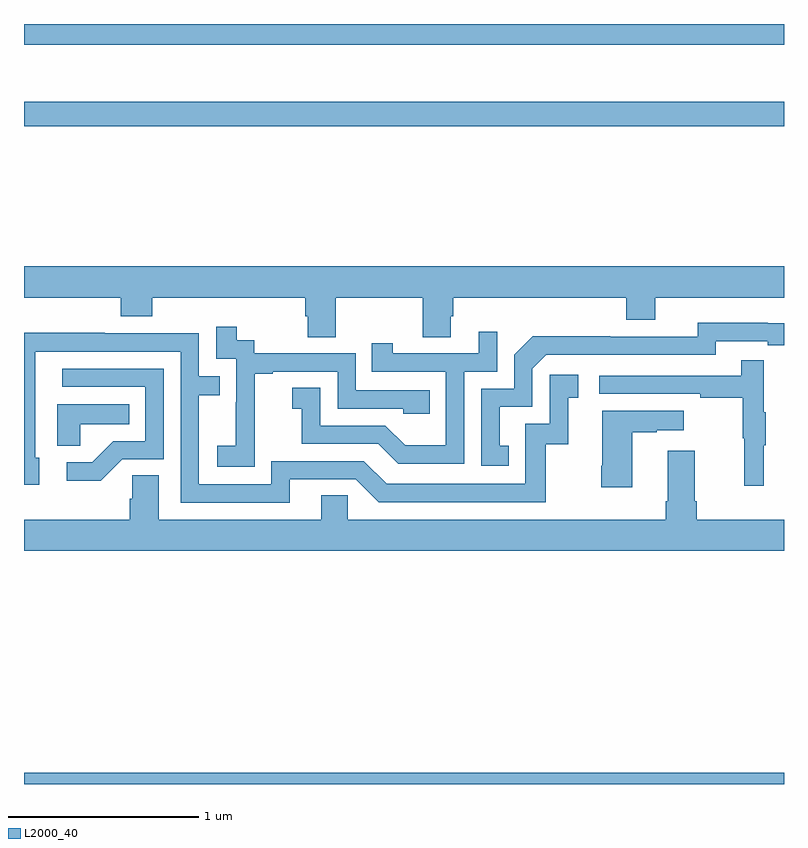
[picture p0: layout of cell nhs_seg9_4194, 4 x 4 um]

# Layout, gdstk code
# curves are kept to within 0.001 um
import gdstk
lib = gdstk.Library(unit=1e-6, precision=1e-09)
def R(c, l, rs):  # rectangles x0, y0, x1, y1
    for r in rs: c.add(gdstk.rectangle(r[:2], r[2:], *l))
def P(c, l, *ps):  # polygons
    for p in ps: c.add(gdstk.Polygon(p, *l))
L2000_40 = (2000, 40)

nhs_seg9_4194 = lib.new_cell('nhs_seg9_4194')
R(nhs_seg9_4194, L2000_40, [(351,1220.5,355,1220.56), (351,1223.962,355,1224.091), (351,1224.392,355,1224.5)])
P(nhs_seg9_4194, L2000_40, [(352.641,1223.06),(353.098,1223.06),(353.098,1222.852),(353.245,1222.852),(353.245,1222.962),(353.258,1222.962),(353.258,1223.06),(354.17,1223.06),(354.17,1222.943),(354.322,1222.943),(354.322,1223.06),(355,1223.06),(355,1223.224),(351,1223.224),(351,1223.06),(351.509,1223.06),(351.509,1222.961),(351.674,1222.961),(351.674,1223.06),(352.481,1223.06),(352.481,1222.962),(352.493,1222.962),(352.493,1222.852),(352.641,1222.852)],
  [(353.552,1222.281),(353.503,1222.281),(353.503,1222.485),(353.676,1222.485),(353.676,1222.686),(353.748,1222.758),(354.642,1222.758),(354.642,1222.83),(354.914,1222.83),(354.914,1222.81),(355,1222.81),(355,1222.926),(354.546,1222.927),(354.546,1222.854),(354.086,1222.854),(354.086,1222.856),(353.678,1222.856),(353.58,1222.758),(353.58,1222.581),(353.406,1222.581),(353.406,1222.176),(353.552,1222.176)],
  [(352.215,1222.375),(352.214,1222.375),(352.214,1222.659),(352.309,1222.659),(352.309,1222.671),(352.65,1222.671),(352.65,1222.476),(352.995,1222.476),(352.995,1222.449),(353.135,1222.449),(353.135,1222.572),(352.746,1222.572),(352.746,1222.767),(352.212,1222.767),(352.212,1222.836),(352.12,1222.836),(352.12,1222.906),(352.011,1222.906),(352.011,1222.737),(352.116,1222.737),(352.116,1222.508),(352.115,1222.508),(352.115,1222.279),(352.017,1222.279),(352.017,1222.169),(352.215,1222.169)],
  [(353.316,1222.671),(353.49,1222.671),(353.49,1222.879),(353.393,1222.879),(353.393,1222.767),(352.942,1222.767),(352.942,1222.819),(352.831,1222.819),(352.831,1222.671),(353.22,1222.671),(353.22,1222.282),(353.006,1222.282),(352.902,1222.386),(352.56,1222.386),(352.56,1222.585),(352.413,1222.585),(352.413,1222.475),(352.462,1222.475),(352.462,1222.29),(352.865,1222.29),(352.97,1222.185),(353.316,1222.185)],
  [(352.399,1222.104),(352.746,1222.104),(352.866,1221.984),(353.746,1221.984),(353.746,1222.287),(353.864,1222.287),(353.864,1222.533),(353.917,1222.533),(353.917,1222.654),(353.766,1222.654),(353.766,1222.395),(353.637,1222.395),(353.637,1222.08),(352.908,1222.08),(352.788,1222.2),(352.302,1222.2),(352.302,1222.077),(351.921,1222.077),(351.921,1222.546),(352.031,1222.546),(352.031,1222.647),(351.921,1222.647),(351.921,1222.872),(351.425,1222.872),(351.425,1222.874),(351,1222.874),(351,1222.074),(351.079,1222.074),(351.079,1222.218),(351.06,1222.218),(351.06,1222.776),(351.825,1222.776),(351.825,1221.981),(352.399,1221.981)],
  [(354.893,1222.283),(354.904,1222.283),(354.904,1222.457),(354.893,1222.457),(354.893,1222.729),(354.775,1222.729),(354.775,1222.65),(354.027,1222.65),(354.027,1222.554),(354.559,1222.554),(354.559,1222.534),(354.783,1222.534),(354.783,1222.32),(354.79,1222.32),(354.79,1222.071),(354.893,1222.071)],
  [(351.516,1222.209),(351.735,1222.209),(351.735,1222.686),(351.201,1222.686),(351.201,1222.59),(351.639,1222.59),(351.639,1222.305),(351.47,1222.305),(351.359,1222.194),(351.225,1222.194),(351.225,1222.097),(351.403,1222.097)],
  [(351.297,1222.394),(351.554,1222.394),(351.554,1222.498),(351.176,1222.498),(351.176,1222.279),(351.297,1222.279)],
  [(354.202,1222.351),(354.329,1222.351),(354.329,1222.361),(354.472,1222.361),(354.472,1222.465),(354.044,1222.465),(354.044,1222.174),(354.037,1222.174),(354.037,1222.062),(354.202,1222.062)],
  [(355,1221.892),(354.542,1221.892),(354.542,1221.988),(354.529,1221.988),(354.529,1222.255),(354.389,1222.255),(354.389,1221.988),(354.377,1221.988),(354.377,1221.892),(352.704,1221.892),(352.704,1222.019),(352.565,1222.019),(352.565,1221.892),(351.709,1221.892),(351.709,1222.124),(351.57,1222.124),(351.57,1222.001),(351.557,1222.001),(351.557,1221.892),(351,1221.892),(351,1221.728),(355,1221.728)])

lib.write_gds('nhs_seg9_4194.gds')
